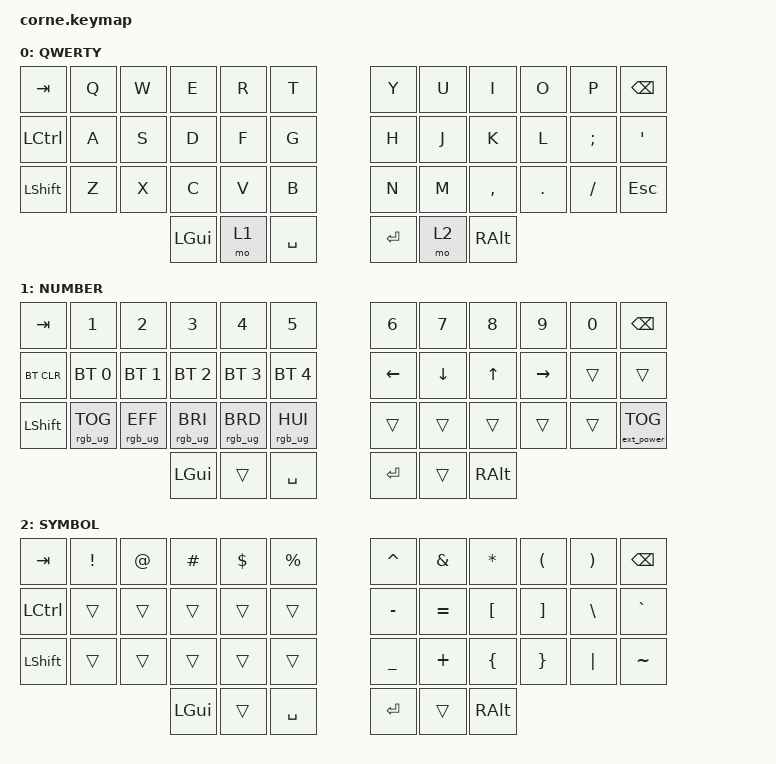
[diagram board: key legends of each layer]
#include <behaviors.dtsi>
#include <dt-bindings/zmk/keys.h>
#include <dt-bindings/zmk/bt.h>
#include <dt-bindings/zmk/rgb.h>
#include <dt-bindings/zmk/ext_power.h>
#include <dt-bindings/led/led.h>

/* ---------- RGB-подсветка Corne v3: данные на D3 = P0.06 nice!nano, 27 LED на половину ---------- */

&pinctrl {
    spi3_default: spi3_default {
        group1 { psels = <NRF_PSEL(SPIM_MOSI, 0, 6)>; };
    };
    spi3_sleep: spi3_sleep {
        group1 {
            psels = <NRF_PSEL(SPIM_MOSI, 0, 6)>;
            low-power-enable;
        };
    };
};

&spi3 {
    compatible = "nordic,nrf-spim";
    status = "okay";
    pinctrl-0 = <&spi3_default>;
    pinctrl-1 = <&spi3_sleep>;
    pinctrl-names = "default", "sleep";

    led_strip: ws2812@0 {
        compatible = "worldsemi,ws2812-spi";
        reg = <0>;
        spi-max-frequency = <4000000>;
        chain-length = <27>;
        spi-one-frame = <0x70>;
        spi-zero-frame = <0x40>;
        color-mapping = <LED_COLOR_ID_GREEN LED_COLOR_ID_RED LED_COLOR_ID_BLUE>;
    };
};

/ {
    chosen {
        zmk,underglow = &led_strip;
    };

    keymap {
        compatible = "zmk,keymap";

        default_layer {
            display-name = "QWERTY";
// | TAB  |  Q  |  W  |  E  |  R  |  T  |   |  Y  |  U  |  I  |  O  |  P  | BSPC |
// | CTRL |  A  |  S  |  D  |  F  |  G  |   |  H  |  J  |  K  |  L  |  ;  |  '   |
// | SHFT |  Z  |  X  |  C  |  V  |  B  |   |  N  |  M  |  ,  |  .  |  /  | ESC  |
//                    | GUI | LWR | SPC |   | ENT | RSE | ALT |
            bindings = <
   &kp TAB   &kp Q &kp W &kp E &kp R &kp T   &kp Y &kp U  &kp I     &kp O   &kp P    &kp BSPC
   &kp LCTRL &kp A &kp S &kp D &kp F &kp G   &kp H &kp J  &kp K     &kp L   &kp SEMI &kp SQT
   &kp LSHFT &kp Z &kp X &kp C &kp V &kp B   &kp N &kp M  &kp COMMA &kp DOT &kp FSLH &kp ESC
                  &kp LGUI &mo 1 &kp SPACE   &kp RET &mo 2 &kp RALT
            >;
        };

        lower_layer {
            display-name = "NUMBER";
// | TAB  |  1  |  2  |  3  |  4  |  5  |   |  6  |  7  |  8  |  9  |  0  | BSPC |
// |BTCLR | BT1 | BT2 | BT3 | BT4 | BT5 |   | LFT | DWN | UP  | RGT |     |      |
// | SHFT |RGBon| EFF | BRI+| BRI-| HUE |   |     |     |     |     |     |LEDpwr|
            bindings = <
   &kp TAB    &kp N1         &kp N2         &kp N3         &kp N4         &kp N5           &kp N6   &kp N7   &kp N8 &kp N9    &kp N0 &kp BSPC
   &bt BT_CLR &bt BT_SEL 0   &bt BT_SEL 1   &bt BT_SEL 2   &bt BT_SEL 3   &bt BT_SEL 4     &kp LEFT &kp DOWN &kp UP &kp RIGHT &trans &trans
   &kp LSHFT  &rgb_ug RGB_TOG &rgb_ug RGB_EFF &rgb_ug RGB_BRI &rgb_ug RGB_BRD &rgb_ug RGB_HUI   &trans   &trans   &trans &trans    &trans &ext_power EP_TOG
                                   &kp LGUI &trans &kp SPACE   &kp RET &trans &kp RALT
            >;
        };

        raise_layer {
            display-name = "SYMBOL";
// | TAB  |  !  |  @  |  #  |  $  |  %  |   |  ^  |  &  |  *  |  (  |  )  | BSPC |
// | CTRL |     |     |     |     |     |   |  -  |  =  |  [  |  ]  |  \  |  `   |
// | SHFT |     |     |     |     |     |   |  _  |  +  |  {  |  }  | "|" |  ~   |
            bindings = <
   &kp TAB   &kp EXCL &kp AT &kp HASH &kp DOLLAR &kp PRCNT   &kp CARET &kp AMPS  &kp ASTRK &kp LPAR &kp RPAR &kp BSPC
   &kp LCTRL &trans   &trans &trans   &trans     &trans      &kp MINUS &kp EQUAL &kp LBKT  &kp RBKT &kp BSLH &kp GRAVE
   &kp LSHFT &trans   &trans &trans   &trans     &trans      &kp UNDER &kp PLUS  &kp LBRC  &kp RBRC &kp PIPE &kp TILDE
                          &kp LGUI &trans &kp SPACE   &kp RET &trans &kp RALT
            >;
        };
    };
};
